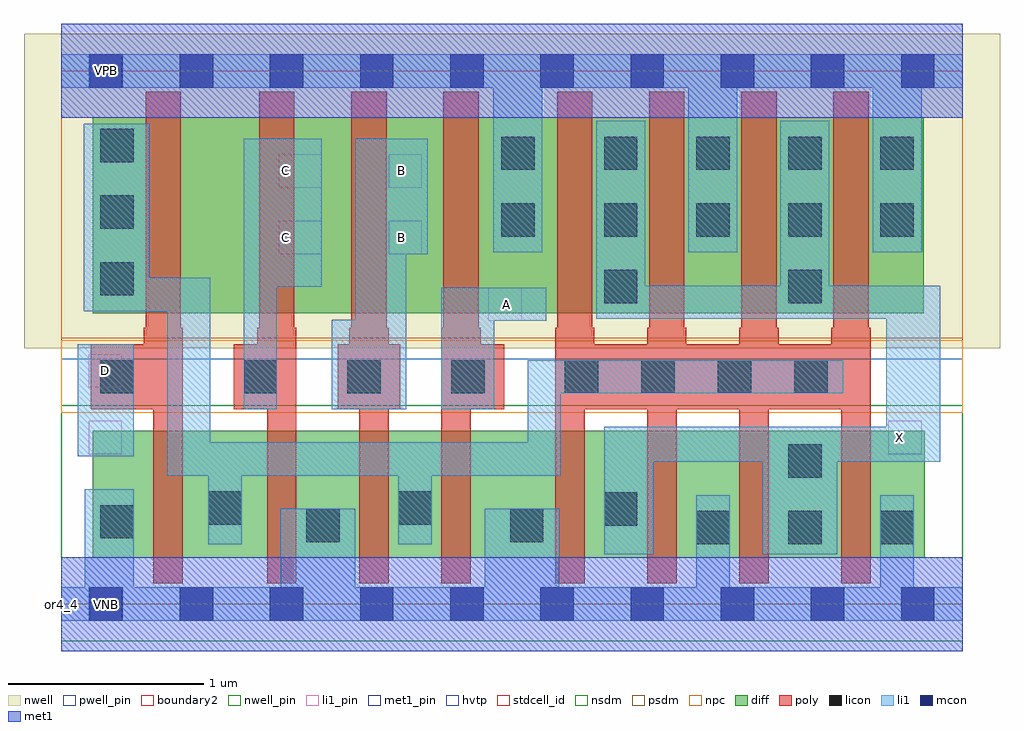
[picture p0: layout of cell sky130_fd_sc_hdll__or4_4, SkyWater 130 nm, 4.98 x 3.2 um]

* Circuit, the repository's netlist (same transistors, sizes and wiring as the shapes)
* Copyright 2020 The SkyWater PDK Authors
*
* Licensed under the Apache License, Version 2.0 (the "License");
* you may not use this file except in compliance with the License.
* You may obtain a copy of the License at
*
*     https://www.apache.org/licenses/LICENSE-2.0
*
* Unless required by applicable law or agreed to in writing, software
* distributed under the License is distributed on an "AS IS" BASIS,
* WITHOUT WARRANTIES OR CONDITIONS OF ANY KIND, either express or implied.
* See the License for the specific language governing permissions and
* limitations under the License.
*
* SPDX-License-Identifier: Apache-2.0

.SUBCKT sky130_fd_sc_hdll__or4_4 A B C D VGND VNB VPB VPWR X
*.PININFO A:I B:I C:I D:I VGND:I VNB:I VPB:I VPWR:I X:O
MMP0 VPWR A sndPA VPB sky130_fd_pr__pfet_01v8_hvt m=1 w=1.0U l=0.18U mult=1 sa=0.265
+ sb=0.265 sd=0.28 area=0.063 perim=1.14
MMP1 sndPA B sndPB VPB sky130_fd_pr__pfet_01v8_hvt m=1 w=1.0U l=0.18U mult=1 sa=0.265
+ sb=0.265 sd=0.28 area=0.063 perim=1.14
MMP2 sndPB C sndPC VPB sky130_fd_pr__pfet_01v8_hvt m=1 w=1.0U l=0.18U mult=1 sa=0.265
+ sb=0.265 sd=0.28 area=0.063 perim=1.14
MMP3 sndPC D y VPB sky130_fd_pr__pfet_01v8_hvt m=1 w=1.0U l=0.18U mult=1 sa=0.265
+ sb=0.265 sd=0.28 area=0.063 perim=1.14
MMIP4 X y VPWR VPB sky130_fd_pr__pfet_01v8_hvt m=4 w=1.0U l=0.18U mult=1 sa=0.265
+ sb=0.265 sd=0.28 area=0.063 perim=1.14
MMN0 y A VGND VNB sky130_fd_pr__nfet_01v8 m=1 w=0.65U l=0.15U mult=1 sa=0.265 sb=0.265
+ sd=0.28 area=0.063 perim=1.14
MMN1 y B VGND VNB sky130_fd_pr__nfet_01v8 m=1 w=0.65U l=0.15U mult=1 sa=0.265 sb=0.265
+ sd=0.28 area=0.063 perim=1.14
MMN2 y C VGND VNB sky130_fd_pr__nfet_01v8 m=1 w=0.65U l=0.15U mult=1 sa=0.265 sb=0.265
+ sd=0.28 area=0.063 perim=1.14
MMN3 y D VGND VNB sky130_fd_pr__nfet_01v8 m=1 w=0.65U l=0.15U mult=1 sa=0.265 sb=0.265
+ sd=0.28 area=0.063 perim=1.14
MMIN4 X y VGND VNB sky130_fd_pr__nfet_01v8 m=4 w=0.65U l=0.15U mult=1 sa=0.265
+ sb=0.265 sd=0.28 area=0.063 perim=1.14
.ENDS sky130_fd_sc_hdll__or4_4

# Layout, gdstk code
import gdstk
lib = gdstk.Library(unit=1e-6, precision=1e-09)
def R(c, l, rs):  # rectangles x0, y0, x1, y1
    for r in rs: c.add(gdstk.rectangle(r[:2], r[2:], *l))
def A(c, l, x, y, w, h, nx, ny, dx, dy):  # array of equal rectangles
    R(c, l, [(x+i*dx, y+j*dy, x+i*dx+w, y+j*dy+h) for i in range(nx) for j in range(ny)])
def P(c, l, *ps):  # polygons
    for p in ps: c.add(gdstk.Polygon(p, *l))
nwell_pin = (64, 16)
nwell = (64, 20)
diff = (65, 20)
poly = (66, 20)
licon = (66, 44)
li1_pin = (67, 16)
li1 = (67, 20)
mcon = (67, 44)
met1_pin = (68, 16)
met1 = (68, 20)
hvtp = (78, 44)
stdcell_id = (81, 4)
nsdm = (93, 44)
psdm = (94, 20)
npc = (95, 20)
pwell_pin = (122, 16)
boundary2 = (236, 0)

sky130_fd_sc_hdll__or4_4 = lib.new_cell('sky130_fd_sc_hdll__or4_4')
R(sky130_fd_sc_hdll__or4_4, nwell_pin, [(0.14,2.635,0.31,2.805)])
R(sky130_fd_sc_hdll__or4_4, nwell, [(-0.19,1.305,4.79,2.91)])
R(sky130_fd_sc_hdll__or4_4, diff, [(0.16,0.235,4.405,0.885), (0.16,1.485,4.4,2.485)])
P(sky130_fd_sc_hdll__or4_4, poly, [(0.62,1.41),(0.61,1.41),(0.61,2.615),(0.43,2.615),(0.43,1.41),(0.42,1.41),(0.42,1.325),(0.15,1.325),(0.15,0.995),(0.47,0.995),(0.47,0.105),(0.62,0.105)],
  [(1.2,1.41),(1.19,1.41),(1.19,2.615),(1.01,2.615),(1.01,1.41),(1,1.41),(1,1.325),(0.88,1.325),(0.88,0.995),(1.05,0.995),(1.05,0.105),(1.2,0.105)],
  [(1.73,1.325),(1.67,1.325),(1.67,1.41),(1.66,1.41),(1.66,2.615),(1.48,2.615),(1.48,1.41),(1.47,1.41),(1.47,1.325),(1.41,1.325),(1.41,0.995),(1.52,0.995),(1.52,0.105),(1.67,0.105),(1.67,0.995),(1.73,0.995)],
  [(2.26,1.325),(2.14,1.325),(2.14,1.41),(2.13,1.41),(2.13,2.615),(1.95,2.615),(1.95,1.41),(1.94,1.41),(1.94,0.105),(2.09,0.105),(2.09,0.995),(2.26,0.995)],
  [(4.13,1.41),(4.12,1.41),(4.12,2.615),(3.94,2.615),(3.94,1.41),(3.93,1.41),(3.93,1.325),(3.66,1.325),(3.66,1.41),(3.65,1.41),(3.65,2.615),(3.47,2.615),(3.47,1.41),(3.46,1.41),(3.46,1.325),(3.19,1.325),(3.19,1.41),(3.18,1.41),(3.18,2.615),(3,2.615),(3,1.41),(2.99,1.41),(2.99,1.325),(2.72,1.325),(2.72,1.41),(2.71,1.41),(2.71,2.615),(2.53,2.615),(2.53,1.41),(2.52,1.41),(2.52,0.105),(2.67,0.105),(2.67,0.995),(2.99,0.995),(2.99,0.105),(3.14,0.105),(3.14,0.995),(3.46,0.995),(3.46,0.105),(3.61,0.105),(3.61,0.995),(3.98,0.995),(3.98,0.105),(4.13,0.105)])
A(sky130_fd_sc_hdll__or4_4, licon, 3.24, 0.305, 0.17, 0.17, 3, 1, 0.47, 0)
A(sky130_fd_sc_hdll__or4_4, licon, 0.93, 1.075, 0.17, 0.17, 3, 1, 0.53, 0)
A(sky130_fd_sc_hdll__or4_4, licon, 2.57, 1.075, 0.17, 0.17, 4, 1, 0.39, 0)
A(sky130_fd_sc_hdll__or4_4, licon, 0.2, 1.575, 0.17, 0.17, 1, 3, 0, 0.34)
A(sky130_fd_sc_hdll__or4_4, licon, 2.77, 1.875, 0.17, 0.17, 4, 2, 0.47, 0.34)
R(sky130_fd_sc_hdll__or4_4, licon, [(1.25,0.315,1.42,0.485), (2.29,0.315,2.46,0.485), (0.2,0.335,0.37,0.505), (2.77,0.4,2.94,0.57), (0.75,0.405,0.92,0.575), (1.72,0.405,1.89,0.575), (3.71,0.645,3.88,0.815), (0.2,1.075,0.37,1.245), (2.77,1.535,2.94,1.705), (3.71,1.535,3.88,1.705), (2.245,1.875,2.415,2.045), (2.245,2.215,2.415,2.385)])
R(sky130_fd_sc_hdll__or4_4, li1_pin, [(0.14,0.765,0.31,0.935), (4.22,0.765,4.39,0.935), (0.14,1.105,0.31,1.275), (2.18,1.445,2.35,1.615), (1.11,1.785,1.33,1.955), (1.67,1.785,1.84,1.955), (1.11,2.125,1.33,2.295), (1.67,2.125,1.84,2.295)])
R(sky130_fd_sc_hdll__or4_4, li1, [(0.085,0.755,0.37,1.325)])
P(sky130_fd_sc_hdll__or4_4, li1, [(1.33,2.375),(0.93,2.375),(0.93,0.995),(1.1,0.995),(1.1,1.62),(1.33,1.62)],
  [(1.87,2.375),(1.5,2.375),(1.5,1.45),(1.38,1.45),(1.38,0.995),(1.76,0.995),(1.76,1.785),(1.87,1.785)],
  [(2.475,1.615),(1.94,1.615),(1.94,0.995),(2.21,0.995),(2.21,1.445),(2.475,1.445)],
  [(3.99,1.245),(2.38,1.245),(2.38,0.825),(0.76,0.825),(0.76,1.665),(0.45,1.665),(0.45,2.45),(0.115,2.45),(0.115,1.495),(0.54,1.495),(0.54,0.655),(0.75,0.655),(0.75,0.305),(0.92,0.305),(0.92,0.655),(1.72,0.655),(1.72,0.305),(1.89,0.305),(1.89,0.655),(2.55,0.655),(2.55,1.075),(3.99,1.075)],
  [(4.485,1.625),(3.92,1.625),(3.92,2.465),(3.67,2.465),(3.67,1.625),(2.98,1.625),(2.98,2.465),(2.73,2.465),(2.73,1.455),(4.21,1.455),(4.21,0.905),(2.77,0.905),(2.77,0.255),(3.02,0.255),(3.02,0.725),(3.58,0.725),(3.58,0.255),(3.96,0.255),(3.96,0.725),(4.485,0.725)],
  [(4.6,0.085),(4.35,0.085),(4.35,0.555),(4.18,0.555),(4.18,0.085),(3.41,0.085),(3.41,0.555),(3.24,0.555),(3.24,0.085),(2.54,0.085),(2.54,0.485),(2.16,0.485),(2.16,0.085),(1.5,0.085),(1.5,0.485),(1.12,0.485),(1.12,0.085),(0.37,0.085),(0.37,0.585),(0.12,0.585),(0.12,0.085),(0,0.085),(0,-0.085),(4.6,-0.085)],
  [(4.6,2.805),(0,2.805),(0,2.635),(2.205,2.635),(2.205,1.795),(2.455,1.795),(2.455,2.635),(3.2,2.635),(3.2,1.795),(3.45,1.795),(3.45,2.635),(4.14,2.635),(4.14,1.795),(4.39,1.795),(4.39,2.635),(4.6,2.635)])
A(sky130_fd_sc_hdll__or4_4, mcon, 0.145, -0.085, 0.17, 0.17, 10, 2, 0.46, 2.72)
R(sky130_fd_sc_hdll__or4_4, met1_pin, [(0.14,-0.085,0.31,0.085), (0.14,2.635,0.31,2.805)])
R(sky130_fd_sc_hdll__or4_4, met1, [(0,-0.24,4.6,0.24), (0,2.48,4.6,2.96)])
R(sky130_fd_sc_hdll__or4_4, hvtp, [(0,1.25,4.6,2.72)])
R(sky130_fd_sc_hdll__or4_4, stdcell_id, [(0,0,4.6,2.72)])
R(sky130_fd_sc_hdll__or4_4, nsdm, [(0,-0.19,4.6,1.015)])
R(sky130_fd_sc_hdll__or4_4, psdm, [(0,1.355,4.6,2.91)])
R(sky130_fd_sc_hdll__or4_4, npc, [(0,0.975,4.6,1.345)])
R(sky130_fd_sc_hdll__or4_4, pwell_pin, [(0.14,-0.085,0.31,0.085)])
R(sky130_fd_sc_hdll__or4_4, boundary2, [(0,0,4.6,2.72)])
sky130_fd_sc_hdll__or4_4.add(gdstk.Label('B', (1.735,2.21), layer=67, texttype=5))
sky130_fd_sc_hdll__or4_4.add(gdstk.Label('B', (1.735,1.87), layer=67, texttype=5))
sky130_fd_sc_hdll__or4_4.add(gdstk.Label('C', (1.145,1.87), layer=67, texttype=5))
sky130_fd_sc_hdll__or4_4.add(gdstk.Label('A', (2.27,1.53), layer=67, texttype=5))
sky130_fd_sc_hdll__or4_4.add(gdstk.Label('C', (1.145,2.21), layer=67, texttype=5))
sky130_fd_sc_hdll__or4_4.add(gdstk.Label('D', (0.225,1.19), layer=67, texttype=5))
sky130_fd_sc_hdll__or4_4.add(gdstk.Label('X', (4.275,0.85), layer=67, texttype=5))
sky130_fd_sc_hdll__or4_4.add(gdstk.Label('VNB', (0.23,0), layer=64, texttype=59))
sky130_fd_sc_hdll__or4_4.add(gdstk.Label('VPB', (0.23,2.72), layer=64, texttype=5))
sky130_fd_sc_hdll__or4_4.add(gdstk.Label('VPWR', (0.23,2.72), layer=68, texttype=5))
sky130_fd_sc_hdll__or4_4.add(gdstk.Label('VGND', (0.23,0), layer=68, texttype=5))
sky130_fd_sc_hdll__or4_4.add(gdstk.Label('or4_4', (0,0), layer=83, texttype=44))

lib.write_gds('sky130_fd_sc_hdll__or4_4.gds')
